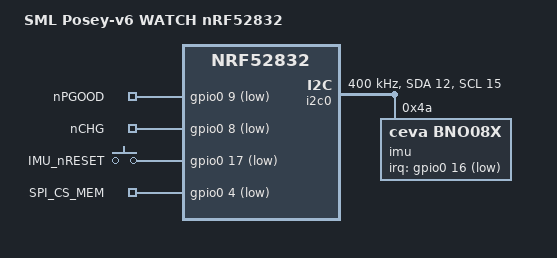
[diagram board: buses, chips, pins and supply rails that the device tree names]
/dts-v1/;
#include <nordic/nrf52832_ciaa.dtsi>

/ {
	model = "SML Posey-v6 WATCH nRF52832";
	compatible = "sml,sml-poseyv6-nrf52832";

	chosen {
		zephyr,sram = &sram0;
		zephyr,flash = &flash0;
		zephyr,code-partition = &slot0_partition;
	};

    gpiopins {
        compatible = "gpio-keys";
        gpio_nPGOOD: gpiopin_0 {
            gpios = <&gpio0 9 (GPIO_PULL_UP | GPIO_ACTIVE_LOW)>;
            label = "nPGOOD";
        };
        gpio_nCHG: gpiopin_1 {
            gpios = <&gpio0 8 (GPIO_PULL_UP | GPIO_ACTIVE_LOW)>;
            label = "nCHG";
        };
        gpio_IMU_nRESET: gpiopin_2 {
            gpios = <&gpio0 17 (GPIO_PULL_UP | GPIO_ACTIVE_LOW)>;
            label = "IMU_nRESET";
        };
        gpio_SPI_CS_MEM: gpiopin_3 {
            gpios = <&gpio0 4 (GPIO_PULL_UP | GPIO_ACTIVE_LOW)>;
            label = "SPI_CS_MEM";
        };
    };
};

&gpio0 {
	status = "okay";
};

&i2c0 {
	compatible = "nordic,nrf-twi";
	status = "okay";
	sda-pin = <12>;
	scl-pin = <15>;
    clock-frequency = <400000>;

    bno08x0: bno08x@4a {
        compatible = "ceva,bno08x";
        label = "imu";
        reg = <0x4a>;
        irq-gpios = <&gpio0 16 (GPIO_ACTIVE_LOW | GPIO_PULL_UP)>;
    };
};

// &spi0 {
// 	compatible = "nordic,nrf-spi";
// 	status = "okay";
// 	sck-pin = <3>;
// 	mosi-pin = <5>;
// 	miso-pin = <2>;
// };

&flash0 {
	partitions {
		compatible = "fixed-partitions";
		#address-cells = <1>;
		#size-cells = <1>;

		boot_partition: partition@0 {
			label = "mcuboot";
			reg = <0x0 0xc000>;
		};
		slot0_partition: partition@c000 {
			label = "image-0";
			reg = <0xc000 0x32000>;
		};
		slot1_partition: partition@3e000 {
			label = "image-1";
			reg = <0x3e000 0x32000>;
		};
		scratch_partition: partition@70000 {
			label = "image-scratch";
			reg = <0x70000 0xa000>;
		};
		storage_partition: partition@7a000 {
			label = "storage";
			reg = <0x7a000 0x6000>;
		};
	};
};
